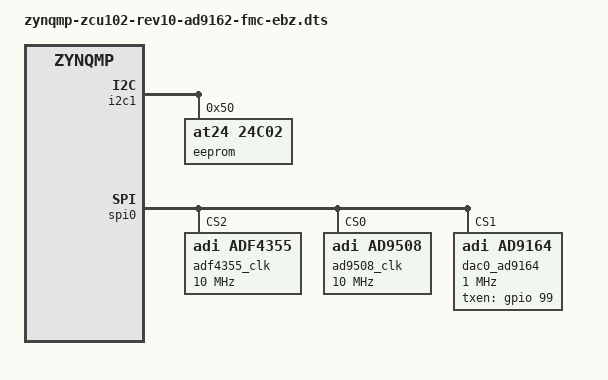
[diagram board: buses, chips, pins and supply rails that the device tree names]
// SPDX-License-Identifier: GPL-2.0
/*
 * Analog Devices ad9164-FMC-EBZ
 * https://www.analog.com/en/resources/evaluation-hardware-and-software/evaluation-boards-kits/EVAL-AD916X.html
 * Linux driver: https://wiki.analog.com/resources/tools-software/linux-drivers/iio-pll/ad9162
 *
 * hdl_project: <dac_fmc_ebz/zcu102> with device=ad9164 and mode=04 in common/config.tcl
 * board_revision: <1.0>
 *
 * Copyright (C) 2024 Analog Devices Inc.
*/
#include "zynqmp-zcu102-rev1.0.dts"
#include <dt-bindings/interrupt-controller/irq.h>
#include <dt-bindings/jesd204/adxcvr.h>
#include <dt-bindings/iio/frequency/ad9508.h>
#include <dt-bindings/jesd204/device-states.h>

&i2c1 {
	i2c-mux@75 {
		i2c@0 {
			#address-cells = <1>;
			#size-cells = <0>;
			reg = <0>;

			eeprom@50 {
				compatible = "at24,24c02";
				reg = <0x50>;
			};

		};
	};
};

/ {
	clocks {
    adf4355_clkin: clock@0 {
		compatible = "fixed-clock";
		clock-frequency = <120000000>;
		clock-output-names = "clkin";
		#clock-cells = <0>;
		};

		adf4355_out_div4: hmc365 {
			#clock-cells = <0>;
			compatible = "fixed-factor-clock";
			clock-div = <4>;
			clock-mult = <1>;
			clocks = <&adf4355_clk>;
		};
	};

	fpga_axi: fpga-axi@0 {
		interrupt-parent = <&gic>;
		compatible = "simple-bus";
		#address-cells = <0x1>;
		#size-cells = <0x1>;
		ranges = <0 0 0 0xffffffff>;

		tx_dma: tx-dmac@9c420000 {
			#dma-cells = <1>;
			compatible = "adi,axi-dmac-1.00.a";
			reg = <0x9c420000 0x10000>;
			interrupts = <0 108 IRQ_TYPE_LEVEL_HIGH>;
			clocks = <&zynqmp_clk 71>;

			adi,channels {
				#size-cells = <0>;
				#address-cells = <1>;

				dma-channel@0 {
					reg = <0>;
					adi,source-bus-width = <64>;
					adi,source-bus-type = <0>;
					adi,destination-bus-width = <128>;
					adi,destination-bus-type = <1>;
				};
			};
		};

/*
 * e de fapt 0x44A04000 dac_jesd204_transport, adica instanta de ad_ip_jesd204_tpl_dac
*/
		axi_ad9164_core: axi-ad9164-hpc@84a04000 {
			compatible = "adi,axi-ad9164-1.0";
			reg = <0x84a04000 0x10000>;
			dmas = <&tx_dma 0>;
			dma-names = "tx";
			spibus-connected = <&dac0_ad9164>;
			adi,axi-pl-fifo-enable;

			/* jesd204-fsm support */
			jesd204-device;
			#jesd204-cells = <2>;
			jesd204-inputs = <&axi_ad9164_jesd 0 0>;
		};
/*
 * e de fapt 0x44A90000 dac_jesd204_link
*/
		axi_ad9164_jesd: axi-jesd204-tx@84a90000 {
			compatible = "adi,axi-jesd204-tx-1.0";
			reg = <0x84a90000 0x4000>;

			interrupts = <0 106 IRQ_TYPE_LEVEL_HIGH>;

			clocks = <&zynqmp_clk 71>, <&axi_ad9164_adxcvr 1>, <&axi_ad9164_adxcvr 0>;
			clock-names = "s_axi_aclk", "device_clk", "lane_clk";

			#clock-cells = <0>;
			clock-output-names = "jesd_dac_lane_clk";

			/* jesd204-fsm support */
			jesd204-device;
			#jesd204-cells = <2>;
			jesd204-inputs = <&axi_ad9164_adxcvr 0 0>;
		};

		axi_ad9164_adxcvr: axi-adxcvr-tx@84a60000 {
			compatible = "adi,axi-adxcvr-1.0";
			reg = <0x84a60000 0x1000>;

			clocks = <&ad9508_clk 0>;
			clock-names = "conv";

			adi,sys-clk-select = <XCVR_QPLL>;
			adi,out-clk-select = <XCVR_REFCLK_DIV2>;
			adi,use-lpm-enable;

			#clock-cells = <1>;
			clock-output-names = "dac_gt_clk", "tx_out_clk";

			/* jesd204-fsm support */
			jesd204-device;
			#jesd204-cells = <2>;
			jesd204-inputs = <&ad9508_clk 0 0>;
		};

		axi_sysid_0: axi-sysid-0@85000000 {
			compatible = "adi,axi-sysid-1.00.a";
			reg = <0x85000000 0x10000>;
		};
	};
};


&spi0 {
	status = "okay";
  adf4355_clk: adf4355@2 {
		compatible = "adi,adf4355";
		reg = <2>;
		spi-max-frequency = <10000000>;

		clocks = <&adf4355_clkin>;
		clock-names = "clkin";
		clock-scales = <1 2>;

		clock-output-names = "adf4355_clk";
		#clock-cells = <0>;

		adi,charge-pump-current = <900>;
		adi,muxout-select = <6>;
		adi,output-a-power = <3>;
		adi,output-b-power = <3>;
		adi,charge-pump-negative-bleed-enable;
		adi,reference-differential-input-enable;
		// adi,reference-div2-enable;
		adi,muxout-level-3v3-enable;
		adi,power-up-frequency = /bits/ 64 <2400000000>;
		adi,output-a-enable;
		adi,output-b-enable;
//		adi,clock-shift = <1>;
	};



  ad9508_clk: ad9508@0 {
		#address-cells = <1>;
		#size-cells = <0>;
		#clock-cells = <1>;
		compatible = "adi,ad9508";

		reg = <0>;
		// spi-cpol;
		// spi-cpha;
		// adi,spi-3wire-enable;

		clocks = <&adf4355_out_div4>;

		spi-max-frequency = <10000000>;
		clock-output-names = "ad9508_out0", "ad9508_out1", "ad9508_out2", "ad9508_out3";

		// /* jesd204-fsm support */
		jesd204-device;
		#jesd204-cells = <2>;
		jesd204-sysref-provider;
		adi,jesd204-max-sysref-frequency-hz = <2000000000>; /* 2 MHz */

		ad9508_0_c0:channel@0 {
			reg = <0>;
			adi,extended-name = "REF_CLK";
			adi,driver-mode = <(DRIVER_PHASE_NORMAL | DRIVER_MODE_HSTL)>;
			adi,divider-phase = <0>;
			adi,channel-divider = <1>;
		};

		/* Not connected */
		ad9508_0_c1:channel@1 {
			reg = <1>;
			adi,extended-name = "PLL_REF";
			adi,driver-mode = <(DRIVER_PHASE_NORMAL | DRIVER_MODE_HSTL)>;
			adi,divider-phase = <0>;
			adi,channel-divider = <1>;
		};

		ad9508_0_c2:channel@2 {
			reg = <2>;
			adi,extended-name = "SYSREF2";
			adi,driver-mode = <(DRIVER_PHASE_NORMAL | DRIVER_MODE_HSTL)>;
			adi,divider-phase = <0>;
			adi,channel-divider = <2048>;
			adi,jesd204-sysref-chan;
		};

		ad9508_0_c3:channel@3 {
			reg = <3>;
			adi,extended-name = "SYSREF";
			adi,driver-mode = <(DRIVER_PHASE_NORMAL | DRIVER_MODE_HSTL)>;
			adi,divider-phase = <0>;
			adi,channel-divider = <2048>;
			adi,jesd204-sysref-chan;
		};
  };

		dac0_ad9164: ad9164@1 {
			#address-cells = <1>;
			#size-cells = <0>;

			compatible = "adi,ad9164";
			reg = <1>;
			spi-max-frequency = <1000000>;
			clocks = <&adf4355_clk>, <&ad9508_clk 3>;
			clock-names = "dac_clk", "dac_sysref";

			dac_clk-clock-scales = <1 2>;
			adi,full-scale-current-microamp = <20000>;

			/* jesd204-fsm support */
			jesd204-device;
			#jesd204-cells = <2>;
			jesd204-top-device = <0>; /* This is the TOP device */
			jesd204-link-ids = <0>;
			jesd204-inputs = <&axi_ad9164_core 0 0>;
			adi,jesd204-ignore-errors;

			adi,subclass = <0>;			/* JESD SUBCLASS 0,1,2 */
			adi,version = <1>;			/* JESD VERSION 0=204A,1=204B,2=204C */
			adi,converters-per-device = <2>;	/* JESD M */
			adi,octets-per-frame = <1>;		/* JESD F */
			adi,frames-per-multiframe = <32>;	/* JESD K */
			adi,converter-resolution = <16>;	/* JESD N */
			adi,bits-per-sample = <16>;		/* JESD NP' */
			adi,control-bits-per-sample = <0>;	/* JESD CS */
			adi,lanes-per-device = <4>;		/* JESD L */
			adi,samples-per-converter-per-frame = <2>; /* JESD S */

			adi,interpolation = <2>;
			txen-gpios = <&gpio 99 0>;
		};
 };

